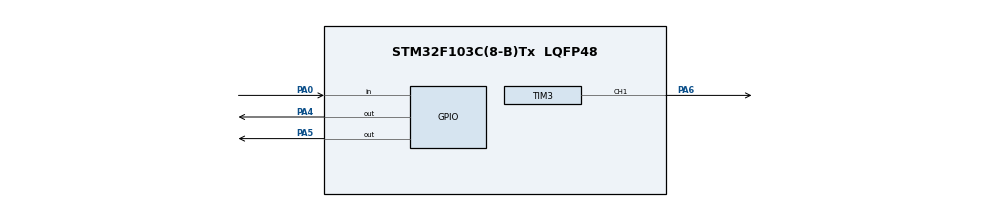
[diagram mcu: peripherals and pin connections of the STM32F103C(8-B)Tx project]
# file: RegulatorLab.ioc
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Mcu.Family=STM32F1
Mcu.Name=STM32F103C(8-B)Tx
Mcu.Package=LQFP48
NVIC.PriorityGroup=NVIC_PRIORITYGROUP_4
PA0-WKUP.Signal=GPIO_Input
PA13.Mode=Serial_Wire
PA13.Signal=SYS_JTMS-SWDIO
PA14.Mode=Serial_Wire
PA14.Signal=SYS_JTCK-SWCLK
PA4.Signal=GPIO_Output
PA5.Signal=GPIO_Output
PA6.Signal=S_TIM3_CH1
ProjectManager.HeapSize=0x200
ProjectManager.StackSize=0x400
ProjectManager.TargetToolchain=MDK-ARM V5.32
RCC.APB1Freq_Value=8000000
RCC.APB2Freq_Value=8000000
SH.S_TIM3_CH1.0=TIM3_CH1,PWM Generation1 CH1
TIM3.Channel-PWM\ Generation1\ CH1=TIM_CHANNEL_1
TIM3.Period=100
TIM3.Prescaler=0
TIM3.Pulse-PWM\ Generation1\ CH1=0
board=custom

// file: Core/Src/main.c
/* USER CODE BEGIN Header */
/**
  ******************************************************************************
  * @file           : main.c
  * @brief          : Main program body
  ******************************************************************************
  * @attention
  *
  * Copyright (c) 2024 STMicroelectronics.
  * All rights reserved.
  *
  * This software is licensed under terms that can be found in the LICENSE file
  * in the root directory of this software component.
  * If no LICENSE file comes with this software, it is provided AS-IS.
  *
  ******************************************************************************
  */
/* USER CODE END Header */
#include "main.h"

TIM_HandleTypeDef htim3;

void SystemClock_Config(void);
static void MX_GPIO_Init(void);
static void MX_TIM3_Init(void);

/* USER CODE BEGIN 0 */
void ileri (int s){
	TIM3->CCR1=s;
		HAL_GPIO_WritePin(GPIOA, GPIO_PIN_4, GPIO_PIN_SET);
		HAL_GPIO_WritePin(GPIOA, GPIO_PIN_5, GPIO_PIN_RESET);
	}

void geri (int s){
	TIM3->CCR1=s;
		HAL_GPIO_WritePin(GPIOA, GPIO_PIN_4, GPIO_PIN_RESET);
		HAL_GPIO_WritePin(GPIOA, GPIO_PIN_5, GPIO_PIN_SET);
	}

void dur (){
	TIM3->CCR1=0;
		HAL_GPIO_WritePin(GPIOA, GPIO_PIN_4|GPIO_PIN_5, GPIO_PIN_RESET);
}

/* USER CODE END 0 */

int main(void)
{

  /* MCU Configuration--------------------------------------------------------*/

  /* Reset of all peripherals, Initializes the Flash interface and the Systick. */
  HAL_Init();

  /* Configure the system clock */
  SystemClock_Config();

  /* Initialize all configured peripherals */
  MX_GPIO_Init();
  MX_TIM3_Init();
  /* USER CODE BEGIN 2 */
	HAL_TIM_PWM_Start(&htim3, TIM_CHANNEL_1);
  /* USER CODE END 2 */

  /* Infinite loop */
  while (1)
  {

    /* USER CODE BEGIN 3 */
		HAL_GPIO_WritePin(GPIOA, GPIO_PIN_4, GPIO_PIN_SET);
	HAL_GPIO_WritePin(GPIOA, GPIO_PIN_5, GPIO_PIN_RESET) ;
	TIM3->CCR1 = 19;
	HAL_Delay (5000) ;
	TIM3->CCR1 = 89;
	HAL_Delay ( 5000);

  }
  /* USER CODE END 3 */
}

void SystemClock_Config(void)
{
  RCC_OscInitTypeDef RCC_OscInitStruct = {0};
  RCC_ClkInitTypeDef RCC_ClkInitStruct = {0};

  /** Initializes the RCC Oscillators according to the specified parameters
  * in the RCC_OscInitTypeDef structure.
  */
  RCC_OscInitStruct.OscillatorType = RCC_OSCILLATORTYPE_HSI;
  RCC_OscInitStruct.HSIState = RCC_HSI_ON;
  RCC_OscInitStruct.HSICalibrationValue = RCC_HSICALIBRATION_DEFAULT;
  RCC_OscInitStruct.PLL.PLLState = RCC_PLL_NONE;
  if (HAL_RCC_OscConfig(&RCC_OscInitStruct) != HAL_OK)
  {
    Error_Handler();
  }

  /** Initializes the CPU, AHB and APB buses clocks
  */
  RCC_ClkInitStruct.ClockType = RCC_CLOCKTYPE_HCLK|RCC_CLOCKTYPE_SYSCLK
                              |RCC_CLOCKTYPE_PCLK1|RCC_CLOCKTYPE_PCLK2;
  RCC_ClkInitStruct.SYSCLKSource = RCC_SYSCLKSOURCE_HSI;
  RCC_ClkInitStruct.AHBCLKDivider = RCC_SYSCLK_DIV1;
  RCC_ClkInitStruct.APB1CLKDivider = RCC_HCLK_DIV1;
  RCC_ClkInitStruct.APB2CLKDivider = RCC_HCLK_DIV1;

  if (HAL_RCC_ClockConfig(&RCC_ClkInitStruct, FLASH_LATENCY_0) != HAL_OK)
  {
    Error_Handler();
  }
}

static void MX_TIM3_Init(void)
{

  TIM_MasterConfigTypeDef sMasterConfig = {0};
  TIM_OC_InitTypeDef sConfigOC = {0};

  htim3.Instance = TIM3;
  htim3.Init.Prescaler = 0;
  htim3.Init.CounterMode = TIM_COUNTERMODE_UP;
  htim3.Init.Period = 100;
  htim3.Init.ClockDivision = TIM_CLOCKDIVISION_DIV1;
  htim3.Init.AutoReloadPreload = TIM_AUTORELOAD_PRELOAD_DISABLE;
  if (HAL_TIM_PWM_Init(&htim3) != HAL_OK)
  {
    Error_Handler();
  }
  sMasterConfig.MasterOutputTrigger = TIM_TRGO_RESET;
  sMasterConfig.MasterSlaveMode = TIM_MASTERSLAVEMODE_DISABLE;
  if (HAL_TIMEx_MasterConfigSynchronization(&htim3, &sMasterConfig) != HAL_OK)
  {
    Error_Handler();
  }
  sConfigOC.OCMode = TIM_OCMODE_PWM1;
  sConfigOC.Pulse = 0;
  sConfigOC.OCPolarity = TIM_OCPOLARITY_HIGH;
  sConfigOC.OCFastMode = TIM_OCFAST_DISABLE;
  if (HAL_TIM_PWM_ConfigChannel(&htim3, &sConfigOC, TIM_CHANNEL_1) != HAL_OK)
  {
    Error_Handler();
  }
  HAL_TIM_MspPostInit(&htim3);

}

static void MX_GPIO_Init(void)
{
  GPIO_InitTypeDef GPIO_InitStruct = {0};

  /* GPIO Ports Clock Enable */
  __HAL_RCC_GPIOA_CLK_ENABLE();

  /*Configure GPIO pin Output Level */
  HAL_GPIO_WritePin(GPIOA, GPIO_PIN_4|GPIO_PIN_5, GPIO_PIN_RESET);

  /*Configure GPIO pin : PA0 */
  GPIO_InitStruct.Pin = GPIO_PIN_0;
  GPIO_InitStruct.Mode = GPIO_MODE_INPUT;
  GPIO_InitStruct.Pull = GPIO_NOPULL;
  HAL_GPIO_Init(GPIOA, &GPIO_InitStruct);

  /*Configure GPIO pins : PA4 PA5 */
  GPIO_InitStruct.Pin = GPIO_PIN_4|GPIO_PIN_5;
  GPIO_InitStruct.Mode = GPIO_MODE_OUTPUT_PP;
  GPIO_InitStruct.Pull = GPIO_NOPULL;
  GPIO_InitStruct.Speed = GPIO_SPEED_FREQ_LOW;
  HAL_GPIO_Init(GPIOA, &GPIO_InitStruct);

}

void Error_Handler(void)
{
  __disable_irq();
  while (1)
  {
  }
}
